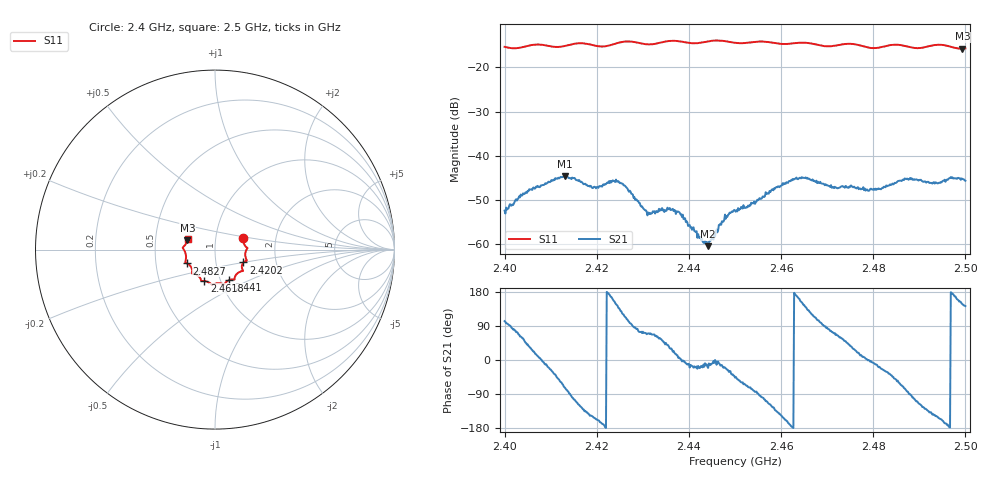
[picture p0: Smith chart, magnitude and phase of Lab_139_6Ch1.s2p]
# Hz S RI R 50
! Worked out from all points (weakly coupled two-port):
!   601 points, 2.4 GHz to 2.5 GHz, reference 50 ohm
!   highest |S21| = -44.58 dB at 2.413 GHz (marker M1); lowest = -60.5 dB at 2.4442 GHz (marker M2)
!   lowest |S11| = -15.8 dB at 2.4993 GHz (marker M3), VSWR 1.39, Z = 36.5 + j3.83 ohm
!   |S11| at or under -10 dB: start of sweep to end of sweep
!   S12 and S22 are empty: the file has one direction only
!   S11 on the Smith chart (normalised r, x): 2.4 GHz: 1.36, +0.18; 2.4202 GHz: 1.36, -0.20; 2.441 GHz: 1.10, -0.39; 2.4618 GHz: 0.84, -0.30; 2.4827 GHz: 0.72, -0.12; 2.5 GHz: 0.73, +0.09
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2.4e9  0.1584 0.0628  -0.00052 0.00234  0 0  0 0
2.405833e9  0.1782 0.0115  0.00367 0.00195  0 0  0 0
2.413e9  0.1696 -0.0394  0.00184 -0.00561  0 0  0 0
2.416667e9  0.1772 -0.0612  -0.0029 -0.00417  0 0  0 0
2.420167e9  0.1584 -0.0714  -0.00414 -0.00163  0 0  0 0
2.424667e9  0.1533 -0.1113  -0.00383 0.00346  0 0  0 0
2.430833e9  0.1285 -0.1295  0.000869 0.00216  0 0  0 0
2.433333e9  0.1115 -0.1509  0.00118 0.00201  0 0  0 0
2.437833e9  0.105 -0.1672  0.00229 0.000273  0 0  0 0
2.441e9  0.0786 -0.1698  0.00146 -0.000532  0 0  0 0
2.444167e9  0.0548 -0.1887  0.000885 -0.000338  0 0  0 0
2.448333e9  0.042 -0.1914  0.00183 -0.000891  0 0  0 0
2.45e9  0.0286 -0.1873  0.00166 -0.00174  0 0  0 0
2.461833e9  -0.0592 -0.1753  -0.00511 -0.000902  0 0  0 0
2.466667e9  -0.0785 -0.1683  -0.00265 0.00455  0 0  0 0
2.472e9  -0.1133 -0.1358  0.00166 0.00402  0 0  0 0
2.482667e9  -0.1559 -0.0773  0.00383 -0.00217  0 0  0 0
2.483333e9  -0.1603 -0.0752  0.00371 -0.00269  0 0  0 0
2.487e9  -0.1635 -0.0599  0.00119 -0.00536  0 0  0 0
2.493833e9  -0.1797 0.00844  -0.00421 -0.0025  0 0  0 0
2.499333e9  -0.1542 0.0511  -0.00462 0.00293  0 0  0 0
2.5e9  -0.1524 0.0608  -0.00412 0.00319  0 0  0 0
